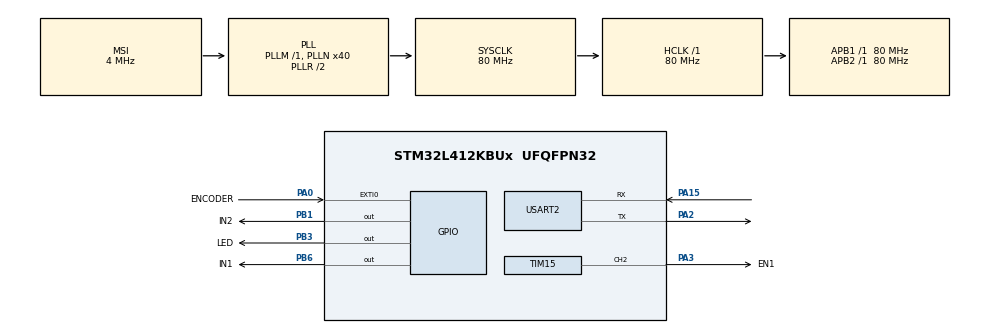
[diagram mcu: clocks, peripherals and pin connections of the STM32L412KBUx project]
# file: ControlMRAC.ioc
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Mcu.Family=STM32L4
Mcu.Name=STM32L412KBUx
Mcu.Package=UFQFPN32
NVIC.EXTI0_IRQn=true\:0\:0\:false\:false\:true\:true\:true
NVIC.PriorityGroup=NVIC_PRIORITYGROUP_4
NVIC.TIM6_IRQn=true\:0\:0\:false\:false\:true\:true\:true
NVIC.USART2_IRQn=true\:0\:0\:false\:false\:true\:true\:true
PA0-CK_IN.GPIO_Label=ENCODER
PA0-CK_IN.GPIO_ModeDefaultEXTI=GPIO_MODE_IT_FALLING
PA0-CK_IN.Signal=GPXTI0
PA15\ (JTDI).Mode=Asynchronous
PA15\ (JTDI).Signal=USART2_RX
PA2.Mode=Asynchronous
PA2.Signal=USART2_TX
PA3.GPIO_Label=EN1
PA3.Signal=S_TIM15_CH2
PB1.GPIO_Label=IN2
PB1.Signal=GPIO_Output
PB3\ (JTDO/TRACESWO).GPIO_Label=LED
PB3\ (JTDO/TRACESWO).Signal=GPIO_Output
PB6.GPIO_Label=IN1
PB6.Signal=GPIO_Output
ProjectManager.HeapSize=0x200
ProjectManager.StackSize=0x400
ProjectManager.TargetToolchain=MDK-ARM V5.32
RCC.ADCFreq_Value=80000000
RCC.AHBFreq_Value=80000000
RCC.APB1Freq_Value=80000000
RCC.APB1TimFreq_Value=80000000
RCC.APB2Freq_Value=80000000
RCC.APB2TimFreq_Value=80000000
RCC.CortexFreq_Value=80000000
RCC.HCLKFreq_Value=80000000
RCC.HSE_VALUE=8000000
RCC.HSI48_VALUE=48000000
RCC.HSI_VALUE=16000000
RCC.LSE_VALUE=32768
RCC.MSI_VALUE=4000000
RCC.PLLN=40
RCC.SYSCLKFreq_VALUE=80000000
RCC.SYSCLKSource=RCC_SYSCLKSOURCE_PLLCLK
RCC.USBFreq_Value=4000000
RCC.VCOOutputFreq_Value=160000000
SH.S_TIM15_CH2.0=TIM15_CH2,PWM Generation2 CH2
TIM15.Channel-PWM\ Generation2\ CH2=TIM_CHANNEL_2
TIM15.Period=400-1
TIM15.Prescaler=8-1
TIM6.Period=4000-1
TIM6.Prescaler=80-1
USART2.VirtualMode-Asynchronous=VM_ASYNC
VP_TIM6_VS_ClockSourceINT.Mode=Enable_Timer
board=custom

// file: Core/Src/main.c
/* USER CODE BEGIN Header */
/**
  ******************************************************************************
  * @file           : main.c
  * @brief          : Main program body
  ******************************************************************************
  * @attention
  *
  * <h2><center>&copy; Copyright (c) 2021 STMicroelectronics.
  * All rights reserved.</center></h2>
  *
  * This software component is licensed by ST under BSD 3-Clause license,
  * the "License"; You may not use this file except in compliance with the
  * License. You may obtain a copy of the License at:
  *                        opensource.org/licenses/BSD-3-Clause
  *
  ******************************************************************************
  */
/* USER CODE END Header */
#include "main.h"
#include "tim.h"
#include "usart.h"
#include "gpio.h"

/* USER CODE BEGIN Includes */
#include <stdio.h>
#include <string.h>
#include <stdlib.h>
/* USER CODE END Includes */

/* USER CODE BEGIN PV */
char buffer[100];
uint8_t byte;
uint8_t i;
/* USER CODE END PV */

void SystemClock_Config(void);

/* USER CODE BEGIN 0 */
#include <stdio.h>
#include "ControlMRAC.h"
#include "rtwtypes.h"

/* Flags for taskOverrun */
static boolean_T OverrunFlags[1] = { false, };

/* Number of auto reload timer rotation computed */
static volatile uint32_t autoReloadTimerLoopVal_S = 1;

/* Remaining number of auto reload timer rotation to do */
volatile uint32_t remainAutoReloadTimerLoopVal_S = 1;

extern DW_ControlMRAC ControlMRAC_DW;
/* USER CODE END 0 */

int main(void)
{

  /* MCU Configuration--------------------------------------------------------*/

  /* Reset of all peripherals, Initializes the Flash interface and the Systick. */
  HAL_Init();

  /* Configure the system clock */
  SystemClock_Config();

  /* Initialize all configured peripherals */
  MX_GPIO_Init();
  MX_TIM6_Init();
  MX_TIM15_Init();
  MX_USART2_UART_Init();
  /* USER CODE BEGIN 2 */
	if (SysTick_Config((uint32_t)(SystemCoreClock/1000.0))) {
    autoReloadTimerLoopVal_S = 1;
    do {
      autoReloadTimerLoopVal_S++;
    } while ((uint32_t)(SystemCoreClock/1000.0)/autoReloadTimerLoopVal_S >
             SysTick_LOAD_RELOAD_Msk);

    SysTick_Config((uint32_t)(SystemCoreClock/1000.0)/autoReloadTimerLoopVal_S);
  }

  /* Set number of loop to do. */
  remainAutoReloadTimerLoopVal_S = autoReloadTimerLoopVal_S;

  {
    int i;
    for (i = 0; i < 1; i++) {
      OverrunFlags[i] = false;
    }
  }

  /* Initialize model */
  ControlMRAC_initialize();
	ControlMRAC_DW.Ref = 0;
	HAL_UART_Receive_IT(&huart2,&byte,1);
  /* USER CODE END 2 */

  /* Infinite loop */
  while (1)
  {

    /* USER CODE BEGIN 3 */
		if (remainAutoReloadTimerLoopVal_S == 0) {
      remainAutoReloadTimerLoopVal_S = autoReloadTimerLoopVal_S;

      /* Check base rate for overrun */
      if (OverrunFlags[0]) {
        rtmSetErrorStatus(ControlMRAC_M, "Overrun");
      }

      OverrunFlags[0] = true;

      /* Step the model for base rate */
      ControlMRAC_step();

      /* Get model outputs here */

      /* Indicate task for base rate complete */
      OverrunFlags[0] = false;
    }
  }
  /* USER CODE END 3 */
}

void SystemClock_Config(void)
{
  RCC_OscInitTypeDef RCC_OscInitStruct = {0};
  RCC_ClkInitTypeDef RCC_ClkInitStruct = {0};

  /** Configure the main internal regulator output voltage
  */
  if (HAL_PWREx_ControlVoltageScaling(PWR_REGULATOR_VOLTAGE_SCALE1) != HAL_OK)
  {
    Error_Handler();
  }
  /** Initializes the RCC Oscillators according to the specified parameters
  * in the RCC_OscInitTypeDef structure.
  */
  RCC_OscInitStruct.OscillatorType = RCC_OSCILLATORTYPE_MSI;
  RCC_OscInitStruct.MSIState = RCC_MSI_ON;
  RCC_OscInitStruct.MSICalibrationValue = 0;
  RCC_OscInitStruct.MSIClockRange = RCC_MSIRANGE_6;
  RCC_OscInitStruct.PLL.PLLState = RCC_PLL_ON;
  RCC_OscInitStruct.PLL.PLLSource = RCC_PLLSOURCE_MSI;
  RCC_OscInitStruct.PLL.PLLM = 1;
  RCC_OscInitStruct.PLL.PLLN = 40;
  RCC_OscInitStruct.PLL.PLLQ = RCC_PLLQ_DIV2;
  RCC_OscInitStruct.PLL.PLLR = RCC_PLLR_DIV2;
  if (HAL_RCC_OscConfig(&RCC_OscInitStruct) != HAL_OK)
  {
    Error_Handler();
  }
  /** Initializes the CPU, AHB and APB buses clocks
  */
  RCC_ClkInitStruct.ClockType = RCC_CLOCKTYPE_HCLK|RCC_CLOCKTYPE_SYSCLK
                              |RCC_CLOCKTYPE_PCLK1|RCC_CLOCKTYPE_PCLK2;
  RCC_ClkInitStruct.SYSCLKSource = RCC_SYSCLKSOURCE_PLLCLK;
  RCC_ClkInitStruct.AHBCLKDivider = RCC_SYSCLK_DIV1;
  RCC_ClkInitStruct.APB1CLKDivider = RCC_HCLK_DIV1;
  RCC_ClkInitStruct.APB2CLKDivider = RCC_HCLK_DIV1;

  if (HAL_RCC_ClockConfig(&RCC_ClkInitStruct, FLASH_LATENCY_4) != HAL_OK)
  {
    Error_Handler();
  }
}

/* USER CODE BEGIN 4 */
void HAL_UART_RxCpltCallback(UART_HandleTypeDef *huart)
{
	if(byte == 'x'){
		HAL_GPIO_TogglePin(GPIOB,GPIO_PIN_3);
		ControlMRAC_DW.Ref = atof(buffer);
		memset(buffer,0,i);
		i = 0;
	}else{
		buffer[i] = byte;
		i++;
	}

	HAL_UART_Receive_IT(&huart2,&byte,1);

}
/* USER CODE END 4 */

void Error_Handler(void)
{
  __disable_irq();
  while (1)
  {
  }
}

/************************ (C) COPYRIGHT STMicroelectronics *****END OF FILE****/
